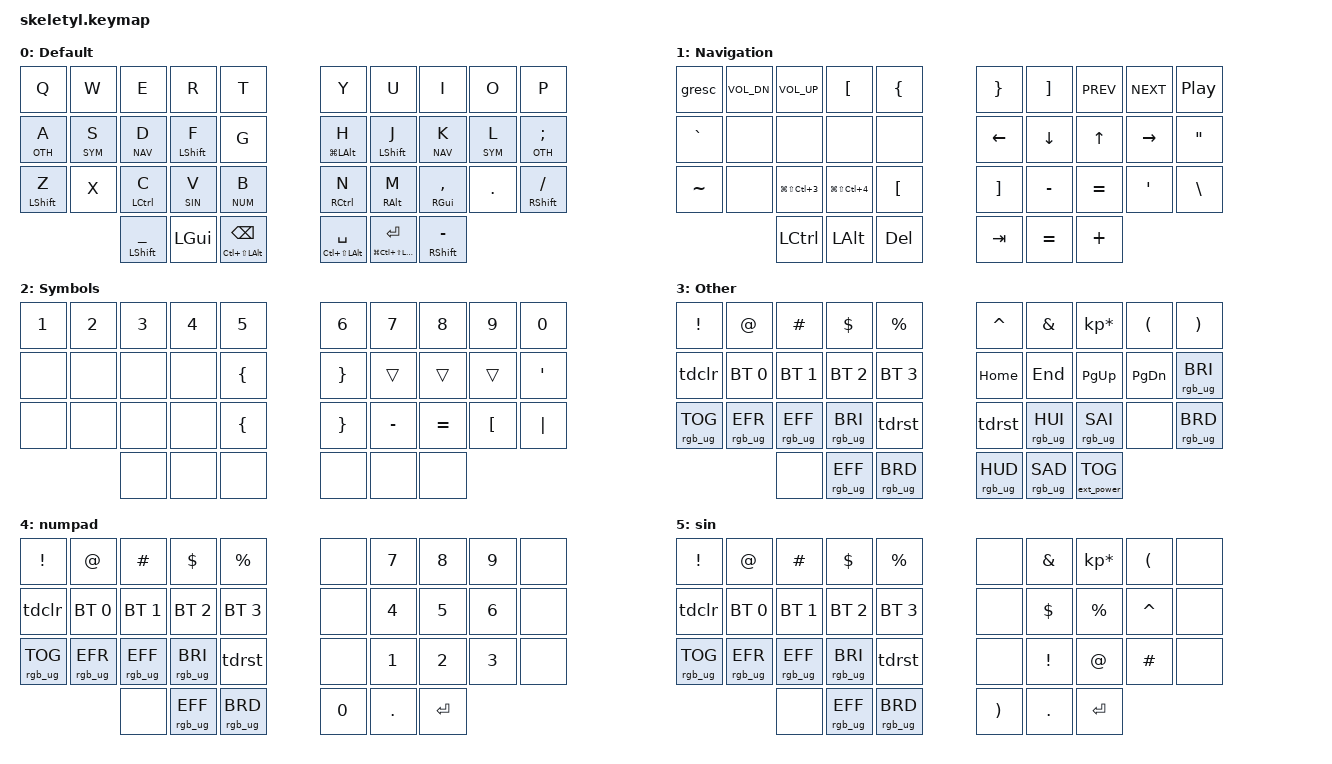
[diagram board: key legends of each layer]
#include <behaviors.dtsi>
#include <dt-bindings/zmk/bt.h>
#include <dt-bindings/zmk/ext_power.h>
#include <dt-bindings/zmk/keys.h>
#include <dt-bindings/zmk/rgb.h>
#include <dt-bindings/zmk/outputs.h>

#define DEFAULT 0
#define NAV     1
#define SYM     2
#define OTH     3
#define NUM     4
#define SIN     5

#define RGB_UG_TOG &rgb_ug RGB_TOG


#define TAPPING_TERM 200
#define QUICK_TAP    200

&lt {
	flavor = "tap-preferred";
	tapping-term-ms = <TAPPING_TERM>;
    quick-tap-ms = <QUICK_TAP>;
};

&mt {
	flavor = "tap-preferred";
	tapping-term-ms = <TAPPING_TERM>;
    quick-tap-ms = <QUICK_TAP>;

};

/ {
    behaviors {
        hm: layer_mods {
            compatible = "zmk,behavior-hold-tap";
            label = "LAYER_MODS";
            #binding-cells = <2>;
            tapping-term-ms = <TAPPING_TERM>;
            quick_tap_ms = <QUICK_TAP>;
            flavor = "tap-preferred";
            bindings = <&kp>, <&kp>;
        };
        hs: homerow_shift {
            compatible = "zmk,behavior-hold-tap";
            label = "HOMEROW_SHIFT";
            #binding-cells = <2>;
            tapping-term-ms = <TAPPING_TERM>;
            quick_tap_ms = <QUICK_TAP>;
            flavor = "tap-preferred";
            bindings = <&kp>, <&kp>;
        };
        tdclr: tap_dance_0 {
            compatible = "zmk,behavior-tap-dance";
            label = "TAP_DANCE_0";
            #binding-cells = <0>;
            tapping-term-ms = <200>;
            bindings = <&none>, <&bt BT_CLR>;
        };
        tdrst: tap_dance_1 {
            compatible = "zmk,behavior-tap-dance";
            label = "TAP_DANCE_0";
            #binding-cells = <0>;
            tapping-term-ms = <200>;
            bindings = <&none>, <&bootloader>;
        };
    };

  macros {
    arrow: arrow {
      label = "Arrow";
      compatible = "zmk,behavior-macro";
      #binding-cells = <0>;
      bindings = <&macro_tap &kp MINUS &kp GT>;
    };
    fat_arrow: fat_arrow {
      label = "Fat_Arrow";
      compatible = "zmk,behavior-macro";
      #binding-cells = <0>;
      bindings = <&macro_tap &kp EQUAL &kp GT>;
    };
  };


 keymap {
        compatible = "zmk,keymap";

        default_layer {
            label = "Default";

            bindings = <
//╭──────────┬──────────┬──────────┬──────────┬──────────╮               ╭──────────┬──────────┬──────────┬──────────┬──────────╮
     &kp Q      &kp W      &kp E      &kp R       &kp T                     &kp Y      &kp U      &kp I      &kp O       &kp P
//├──────────┼──────────┼──────────┼──────────┼──────────┤               ├──────────┼──────────┼──────────┼──────────┼──────────┤
   &lt OTH A  &lt SYM S   &lt NAV D &hs LSHIFT F  &kp G              &mt LG(LALT) H  &hs LSHIFT J &lt NAV K &lt SYM L &lt OTH SEMI
//├──────────┼──────────┼──────────┼──────────┼──────────┤               ├──────────┼──────────┼──────────┼──────────┼──────────┤
&mt LSHIFT Z       &kp X     &mt LCTL C &lt SIN V &lt NUM B              &mt RCTL N &mt RALT M &mt RGUI COMMA &kp DOT   &mt RSHIFT FSLH
//╰──────────┴──────────┼──────────┼──────────┼─────────╯               ╰─────────┼───────────┼──────────┼──────────┼──────────╯
   &mt LSHIFT UNDER      &kp LGUI    &mt LC(LS(LALT)) BSPC        &mt LC(LS(LALT)) SPACE &mt LG(LC(LS(LALT))) ENTER  &mt RSHIFT MINUS
 //            ╰──────────────┴──────────────┴─────────────────╯    ╰─────────────────────┴───────────────┴───────────────╯

            >;
        };

        nav_layer {
            label = "Navigation";

            bindings = <
//╭──────────┬──────────┬──────────┬──────────┬──────────╮               ╭──────────┬──────────┬──────────┬──────────┬──────────╮
    &gresc  &kp C_VOL_DN  &kp C_VOL_UP &kp LBKT   &kp LBRC                &kp RBRC   &kp RBKT   &kp C_PREV &kp C_NEXT &kp C_PLAY_PAUSE
//├──────────┼──────────┼──────────┼──────────┼──────────┤               ├──────────┼──────────┼──────────┼──────────┼──────────┤
    &kp GRAVE   &none      &none      &none       &none                    &kp LEFT   &kp DOWN    &kp UP   &kp RIGHT   &kp DQT
//├──────────┼─────────┼───────-───┼──────────┼──────────┤               ├──────────┼──────────┼──────────┼──────────┼──────────┤
   &kp TILDE   &none &kp LG(LS(LC(N3))) &kp LG(LS(LC(N4))) &kp LBKT            &kp RBKT  &kp MINUS  &kp EQUAL   &kp SQT   &kp BSLH
 //╰──────────┴──────────┼──────────┼──────────┼─────────╯               ╰─────────┼───────────┼──────────┼──────────┼──────────╯
                  &kp LCTL        &kp LALT       &kp DELETE                  &kp TAB         &kp EQUAL        &kp PLUS
 //            ╰──────────────┴──────────────┴─────────────────╯    ╰─────────────────────┴───────────────┴───────────────╯
               >;
        };

        sym_layer {
            label = "Symbols";

            bindings = <
//╭──────────┬──────────┬──────────┬──────────┬──────────╮               ╭──────────┬──────────┬──────────┬──────────┬──────────╮
    &kp N1      &kp N2     &kp N3     &kp N4     &kp N5                     &kp N6     &kp N7     &kp N8     &kp N9     &kp N0
//├──────────┼──────────┼──────────┼──────────┼──────────┤               ├──────────┼──────────┼──────────┼──────────┼──────────┤
    &none       &none      &none      &none     &kp LBRC                   &kp RBRC   &trans     &trans     &trans     &kp SQT
//├──────────┼──────────┼──────────┼──────────┼──────────┤               ├──────────┼──────────┼──────────┼──────────┼──────────┤
    &none       &none      &none      &none     &kp LBRC                  &kp RBRC  &kp MINUS  &kp EQUAL   &kp LBKT    &kp PIPE
//╰──────────┴──────────┼──────────┼──────────┼─────────╯               ╰─────────┼───────────┼──────────┼──────────┼──────────╯
                   &none          &none          &none                &none               &none &none
 //            ╰──────────────┴──────────────┴─────────────────╯    ╰─────────────────────┴───────────────┴───────────────╯
                >;
        };
        oth_layer {
            label = "Other";

            bindings = <
//╭──────────┬──────────┬──────────┬──────────┬──────────╮                         ╭──────────┬──────────┬──────────┬──────────┬──────────╮
   &kp EXCL     &kp AT    &kp HASH  &kp DOLLAR &kp PRCNT                            &kp CARET   &kp AMPS &kp KP_MULTIPLY &kp LPAR &kp RPAR
//├──────────┼──────────┼──────────┼──────────┼──────────┤                         ├──────────┼──────────┼──────────┼──────────┼──────────┤
  &tdclr &bt BT_SEL 0 &bt BT_SEL 1 &bt BT_SEL 2 &bt BT_SEL 3                     &kp HOME    &kp END  &kp PG_UP &kp PG_DN &rgb_ug RGB_BRI
//├──────────┼──────────┼──────────┼──────────┼──────────┤                         ├──────────┼──────────┼──────s────┼──────────┼──────────┤
   &rgb_ug RGB_TOG &rgb_ug RGB_EFR &rgb_ug RGB_EFF &rgb_ug RGB_BRI &tdrst &tdrst &rgb_ug RGB_HUI &rgb_ug RGB_SAI &none &rgb_ug RGB_BRD
 //╰──────────┴──────────┼──────────┼──────────┼─────────╯                         ╰─────────┼───────────┼──────────┼──────────┼──────────╯
                    &none       &rgb_ug RGB_EFF &rgb_ug RGB_BRD                  &rgb_ug RGB_HUD    &rgb_ug RGB_SAD   &ext_power EP_TOG
 //            ╰──────────────┴──────────────┴─────────────────╯              ╰─────────────────────┴───────────────┴───────────────╯
                >;
        };
        numpad_layer {
            label = "numpad";
            bindings = <
//╭──────────┬──────────┬──────────┬──────────┬──────────╮                         ╭──────────┬──────────┬──────────┬──────────┬──────────╮
   &kp EXCL     &kp AT    &kp HASH  &kp DOLLAR &kp PRCNT                             &none       &kp N7     &kp N8     &kp N9      &none 
//├──────────┼──────────┼──────────┼──────────┼──────────┤                         ├──────────┼──────────┼──────────┼──────────┼──────────┤
  &tdclr &bt BT_SEL 0 &bt BT_SEL 1 &bt BT_SEL 2 &bt BT_SEL 3                         &none      &kp N4       &kp N5     &kp N6     &none 
//├──────────┼──────────┼──────────┼──────────┼──────────┤                         ├──────────┼──────────┼──────────┼──────────┼──────────┤
 &rgb_ug RGB_TOG &rgb_ug RGB_EFR &rgb_ug RGB_EFF &rgb_ug RGB_BRI &tdrst             &none        &kp N1       &kp N2     &kp N3    &none 
 //╰──────────┴──────────┼──────────┼──────────┼─────────╯                         ╰─────────┼───────────┼──────────┼──────────┼──────────╯
                    &none       &rgb_ug RGB_EFF &rgb_ug RGB_BRD                  &kp N0     &kp DOT   &kp ENTER
 //            ╰──────────────┴──────────────┴─────────────────╯              ╰─────────────────────┴───────────────┴───────────────╯
                >;
        };
                sinpad_layer {
            label = "sin";
            bindings = <
//╭──────────┬──────────┬──────────┬──────────┬──────────╮                         ╭──────────┬──────────┬──────────┬──────────┬──────────╮
   &kp EXCL     &kp AT    &kp HASH  &kp DOLLAR &kp PRCNT                            &none  &kp AMPS     &kp KP_MULTIPLY     &kp LPAR      &none 
//├──────────┼──────────┼──────────┼──────────┼──────────┤                         ├──────────┼──────────┼──────────┼──────────┼──────────┤
  &tdclr &bt BT_SEL 0 &bt BT_SEL 1 &bt BT_SEL 2 &bt BT_SEL 3                        &none    &kp DOLLAR       &kp PRCNT     &kp CARET     &none 
//├──────────┼──────────┼──────────┼──────────┼──────────┤                         ├──────────┼──────────┼──────────┼──────────┼──────────┤
 &rgb_ug RGB_TOG &rgb_ug RGB_EFR &rgb_ug RGB_EFF &rgb_ug RGB_BRI &tdrst            &none    &kp EXCL       &kp AT     &kp HASH      &none 
 //╰──────────┴──────────┼──────────┼──────────┼─────────╯                         ╰─────────┼───────────┼──────────┼──────────┼──────────╯
                    &none       &rgb_ug RGB_EFF &rgb_ug RGB_BRD                  &kp RPAR     &kp DOT   &kp ENTER
 //            ╰──────────────┴──────────────┴─────────────────╯              ╰─────────────────────┴───────────────┴───────────────╯
                >;
        };

    };
};
